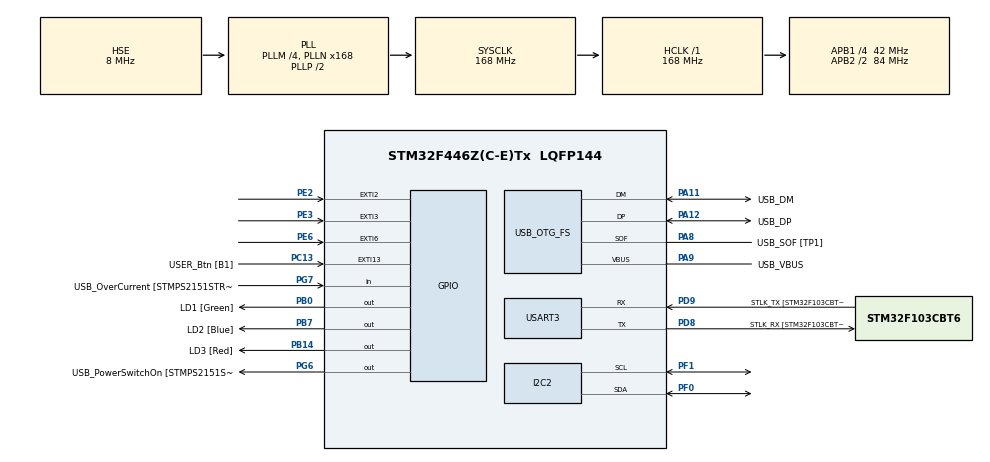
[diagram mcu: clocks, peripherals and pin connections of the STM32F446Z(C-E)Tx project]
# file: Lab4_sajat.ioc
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Mcu.Family=STM32F4
Mcu.Name=STM32F446Z(C-E)Tx
Mcu.Package=LQFP144
NVIC.PriorityGroup=NVIC_PRIORITYGROUP_4
PA10.GPIO_Label=USB_ID
PA10.Signal=USB_OTG_FS_ID
PA11.GPIO_Label=USB_DM
PA11.Mode=Device_Only
PA11.Signal=USB_OTG_FS_DM
PA12.GPIO_Label=USB_DP
PA12.Mode=Device_Only
PA12.Signal=USB_OTG_FS_DP
PA13.GPIO_Label=TMS
PA13.Mode=Serial_Wire
PA13.Signal=SYS_JTMS-SWDIO
PA14.GPIO_Label=TCK
PA14.Mode=Serial_Wire
PA14.Signal=SYS_JTCK-SWCLK
PA8.GPIO_Label=USB_SOF [TP1]
PA8.Mode=Activate_SOF_FS
PA8.Signal=USB_OTG_FS_SOF
PA9.GPIO_Label=USB_VBUS
PA9.Mode=Activate_VBUS
PA9.Signal=USB_OTG_FS_VBUS
PB0.GPIO_Label=LD1 [Green]
PB0.Signal=GPIO_Output
PB14.GPIO_Label=LD3 [Red]
PB14.Signal=GPIO_Output
PB7.GPIO_Label=LD2 [Blue]
PB7.Signal=GPIO_Output
PC13.GPIO_Label=USER_Btn [B1]
PC13.Signal=GPXTI13
PC14-OSC32_IN.Mode=LSE-External-Oscillator
PC14-OSC32_IN.Signal=RCC_OSC32_IN
PC15-OSC32_OUT.Mode=LSE-External-Oscillator
PC15-OSC32_OUT.Signal=RCC_OSC32_OUT
PD8.GPIO_Label=STLK_RX [STM32F103CBT6_PA3]
PD8.Mode=Asynchronous
PD8.Signal=USART3_TX
PD9.GPIO_Label=STLK_TX [STM32F103CBT6_PA2]
PD9.Mode=Asynchronous
PD9.Signal=USART3_RX
PE2.Signal=GPXTI2
PE3.Signal=GPXTI3
PE6.Signal=GPXTI6
PF0.Mode=I2C
PF0.Signal=I2C2_SDA
PF1.Mode=I2C
PF1.Signal=I2C2_SCL
PG6.GPIO_Label=USB_PowerSwitchOn [STMPS2151STR_EN]
PG6.Signal=GPIO_Output
PG7.GPIO_Label=USB_OverCurrent [STMPS2151STR_FAULT]
PG7.Signal=GPIO_Input
PH0-OSC_IN.GPIO_Label=MCO [STM32F103CBT6_PA8]
PH0-OSC_IN.Mode=HSE-External-Clock-Source
PH0-OSC_IN.Signal=RCC_OSC_IN
PH1-OSC_OUT.Mode=HSE-External-Clock-Source
PH1-OSC_OUT.Signal=RCC_OSC_OUT
ProjectManager.HeapSize=0x200
ProjectManager.StackSize=0x400
ProjectManager.TargetToolchain=STM32CubeIDE
RCC.48MHZClocksFreq_Value=24000000
RCC.AHBFreq_Value=168000000
RCC.APB1CLKDivider=RCC_HCLK_DIV4
RCC.APB1Freq_Value=42000000
RCC.APB1TimFreq_Value=84000000
RCC.APB2CLKDivider=RCC_HCLK_DIV2
RCC.APB2Freq_Value=84000000
RCC.APB2TimFreq_Value=168000000
RCC.CortexFreq_Value=168000000
RCC.HCLKFreq_Value=168000000
RCC.HSE_VALUE=8000000
RCC.HSI_VALUE=16000000
RCC.PLLM=4
RCC.PLLMUL=RCC_PLL_MUL9
RCC.PLLN=168
RCC.PLLQ=7
RCC.PRESCALERUSB=RCC_USBCLKSOURCE_PLL_DIV1_5
RCC.SYSCLKFreq_VALUE=168000000
RCC.SYSCLKSource=RCC_SYSCLKSOURCE_PLLCLK
RCC.SYSCLKSourceVirtual=RCC_SYSCLKSOURCE_PLLCLK
RCC.USBFreq_Value=48000000
RCC.VCOOutputFreq_Value=336000000
USART3.VirtualMode=VM_ASYNC
USB_OTG_FS.VirtualMode=Device_Only
board=NUCLEO-F446ZE

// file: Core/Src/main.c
/* USER CODE BEGIN Header */
/**
  ******************************************************************************
  * @file           : main.c

  ******************************************************************************

  *
  * @attention
  *
  * Copyright (c) 2026 STMicroelectronics.
  * All rights reserved.
  *
  * This software is licensed under terms that can be found in the LICENSE file
  * in the root directory of this software component.
  * If no LICENSE file comes with this software, it is provided AS-IS.
  *
  ******************************************************************************
  */
/* USER CODE END Header */
#include "main.h"

/* USER CODE BEGIN Includes */
#include "OLED.h"
#include <stdlib.h>
#include <stdio.h>
/* USER CODE END Includes */

/* USER CODE BEGIN PTD */

typedef enum
{
    DIR_RIGHT = 0,
    DIR_UP,
    DIR_DOWN
} Snake_Dir;

typedef enum
{
    GAME_START = 0,
    GAME_PLAY,
    GAME_OVER
} Game_State;

/* USER CODE END PTD */

/* USER CODE BEGIN PD */

#define BTN1_PORT   GPIOE
#define BTN1_PIN    GPIO_PIN_2
#define BTN2_PORT   GPIOE
#define BTN2_PIN    GPIO_PIN_3
#define BTN3_PORT   GPIOE
#define BTN3_PIN    GPIO_PIN_6

#define BTN_PRESSED_LEVEL   GPIO_PIN_RESET

#define CELL_SIZE       4u
#define GRID_W          (OLED_WIDTH  / CELL_SIZE)
#define GRID_H          (OLED_HEIGHT / CELL_SIZE)
#define SNAKE_MAX_LEN   (GRID_W * GRID_H)

#define SPEED_START_MS  160u
#define SPEED_MIN_MS    70u
#define SPEED_STEP_MS   5u

/* USER CODE END PD */

I2C_HandleTypeDef hi2c2;

UART_HandleTypeDef huart3;

PCD_HandleTypeDef hpcd_USB_OTG_FS;

/* USER CODE BEGIN PV */
static GPIO_PinState previous_button_state[3];
static GPIO_PinState current_button_state[3];

static uint8_t   snake_x[SNAKE_MAX_LEN];
static uint8_t   snake_y[SNAKE_MAX_LEN];
static uint16_t  snake_len;
static Snake_Dir snake_dir;
static Snake_Dir next_dir;

static uint8_t   food_x;
static uint8_t   food_y;

static uint16_t  score;
static uint32_t  move_period;
static uint32_t  last_move_tick;
static uint32_t  game_over_tick;

static Game_State game_state = GAME_START;

/* USER CODE END PV */

void SystemClock_Config(void);
static void MX_GPIO_Init(void);
static void MX_USART3_UART_Init(void);
static void MX_USB_OTG_FS_PCD_Init(void);
static void MX_I2C2_Init(void);

/* USER CODE BEGIN 0 */

static void Buttons_Read(uint8_t pressed[3])
{
    uint8_t i;

    current_button_state[0] = HAL_GPIO_ReadPin(BTN1_PORT, BTN1_PIN);
    current_button_state[1] = HAL_GPIO_ReadPin(BTN2_PORT, BTN2_PIN);
    current_button_state[2] = HAL_GPIO_ReadPin(BTN3_PORT, BTN3_PIN);

    for (i = 0; i < 3u; i++)
    {
        pressed[i] = ((current_button_state[i] != previous_button_state[i]) &&
                      (BTN_PRESSED_LEVEL == current_button_state[i])) ? 1u : 0u;
        previous_button_state[i] = current_button_state[i];
    }

    HAL_GPIO_WritePin(LD1_GPIO_Port, LD1_Pin,
        (BTN_PRESSED_LEVEL == current_button_state[0]) ? GPIO_PIN_SET : GPIO_PIN_RESET);
    HAL_GPIO_WritePin(LD2_GPIO_Port, LD2_Pin,
        (BTN_PRESSED_LEVEL == current_button_state[1]) ? GPIO_PIN_SET : GPIO_PIN_RESET);
    HAL_GPIO_WritePin(LD3_GPIO_Port, LD3_Pin,
        (BTN_PRESSED_LEVEL == current_button_state[2]) ? GPIO_PIN_SET : GPIO_PIN_RESET);
}

static void Snake_DrawCell(uint8_t gx, uint8_t gy)
{
    uint8_t px = gx * CELL_SIZE;
    uint8_t py = gy * CELL_SIZE;
    uint8_t i;

    for (i = 0; i < (CELL_SIZE - 1u); i++)
    {
        OLED_DrawLine(px, py + i, px + CELL_SIZE - 2u, py + i, WHITE);
    }
}

static void Snake_DrawFood(uint8_t gx, uint8_t gy)
{
    uint8_t px = gx * CELL_SIZE;
    uint8_t py = gy * CELL_SIZE;

    OLED_DrawRectangle(px, py, px + CELL_SIZE - 2u, py + CELL_SIZE - 2u, WHITE);
}

static uint8_t Snake_IsOnBody(uint8_t x, uint8_t y)
{
    uint16_t i;

    for (i = 0; i < snake_len; i++)
    {
        if ((snake_x[i] == x) && (snake_y[i] == y))
        {
            return 1u;
        }
    }
    return 0u;
}

static uint8_t Snake_SpawnFood(void)
{
    if (snake_len >= SNAKE_MAX_LEN)
    {
        return 0u;
    }

    do
    {
        food_x = (uint8_t)(rand() % GRID_W);
        food_y = (uint8_t)(rand() % GRID_H);
    } while (Snake_IsOnBody(food_x, food_y));

    return 1u;
}

static void Snake_Init(void)
{
    snake_len  = 3u;
    snake_x[0] = 5u; snake_y[0] = GRID_H / 2u;
    snake_x[1] = 4u; snake_y[1] = GRID_H / 2u;
    snake_x[2] = 3u; snake_y[2] = GRID_H / 2u;

    snake_dir = DIR_RIGHT;
    next_dir  = DIR_RIGHT;

    score          = 0u;
    move_period    = SPEED_START_MS;
    last_move_tick = HAL_GetTick();

    (void)Snake_SpawnFood();
}

static uint8_t Snake_Step(void)
{
    uint8_t  nx = snake_x[0];
    uint8_t  ny = snake_y[0];
    uint8_t  grow;
    uint16_t check_len;
    uint16_t i;

    snake_dir = next_dir;

    switch (snake_dir)
    {
    case DIR_UP:
        ny = (0u == ny) ? (GRID_H - 1u) : (ny - 1u);
        break;
    case DIR_DOWN:
        ny = (uint8_t)((ny + 1u) % GRID_H);
        break;
    case DIR_RIGHT:
    default:
        nx = (uint8_t)((nx + 1u) % GRID_W);
        break;
    }

    grow = ((nx == food_x) && (ny == food_y)) ? 1u : 0u;

    check_len = grow ? snake_len : (snake_len - 1u);
    for (i = 0; i < check_len; i++)
    {
        if ((snake_x[i] == nx) && (snake_y[i] == ny))
        {
            return 0u;
        }
    }

    if (grow && (snake_len < SNAKE_MAX_LEN))
    {
        snake_len++;
    }

    for (i = snake_len - 1u; i > 0u; i--)
    {
        snake_x[i] = snake_x[i - 1u];
        snake_y[i] = snake_y[i - 1u];
    }
    snake_x[0] = nx;
    snake_y[0] = ny;

    if (grow)
    {
        score++;
        if (move_period > SPEED_MIN_MS)
        {
            move_period -= SPEED_STEP_MS;
        }
        if (!Snake_SpawnFood())
        {
            return 0u;
        }
    }

    return 1u;
}

static void Snake_Draw(void)
{
    uint16_t i;

    OLED_Fill(BLACK);
    for (i = 0; i < snake_len; i++)
    {
        Snake_DrawCell(snake_x[i], snake_y[i]);
    }
    Snake_DrawFood(food_x, food_y);
    OLED_UpdateScreen();
}

static void Snake_DrawStart(void)
{
    OLED_Fill(BLACK);
    OLED_SetCursor(24, 8);
    OLED_WriteString("SNAKE", Font_16x26, WHITE);
    OLED_SetCursor(22, 46);
    OLED_WriteString("Nyomj gombot", Font_7x10, WHITE);
    OLED_UpdateScreen();
}

static void Snake_DrawGameOver(void)
{
    char buf[20];

    OLED_Fill(BLACK);
    OLED_SetCursor(14, 6);
    OLED_WriteString("GAME OVER", Font_11x18, WHITE);

    snprintf(buf, sizeof(buf), "Pont: %u", (unsigned int)score);
    OLED_SetCursor(30, 30);
    OLED_WriteString(buf, Font_7x10, WHITE);

    OLED_SetCursor(26, 48);
    OLED_WriteString("Gomb = ujra", Font_7x10, WHITE);
    OLED_UpdateScreen();
}

/* USER CODE END 0 */

int main(void)
{

  /* USER CODE BEGIN 1 */
  uint8_t pressed[3];
  /* USER CODE END 1 */

  /* MCU Configuration--------------------------------------------------------*/

  /* Reset of all peripherals, Initializes the Flash interface and the Systick. */
  HAL_Init();

  /* Configure the system clock */
  SystemClock_Config();

  /* Initialize all configured peripherals */
  MX_GPIO_Init();
  MX_USART3_UART_Init();
  MX_USB_OTG_FS_PCD_Init();
  MX_I2C2_Init();
  /* USER CODE BEGIN 2 */

  OLED_Init();
  OLED_Fill(BLACK);
  OLED_UpdateScreen();

  previous_button_state[0] = HAL_GPIO_ReadPin(BTN1_PORT, BTN1_PIN);
  previous_button_state[1] = HAL_GPIO_ReadPin(BTN2_PORT, BTN2_PIN);
  previous_button_state[2] = HAL_GPIO_ReadPin(BTN3_PORT, BTN3_PIN);

  Snake_DrawStart();
  game_state = GAME_START;

  /* USER CODE END 2 */

  /* Infinite loop */
  /* USER CODE BEGIN WHILE */
  while (1)
  {
      Buttons_Read(pressed);

      switch (game_state)
      {
      case GAME_START:
          if (pressed[0] || pressed[1] || pressed[2])
          {
              srand(HAL_GetTick());
              Snake_Init();
              Snake_Draw();
              game_state = GAME_PLAY;
          }
          break;

      case GAME_PLAY:

          if (pressed[0])
          {
              next_dir = DIR_RIGHT;
          }
          if (pressed[1] && (DIR_UP != snake_dir))
          {
              next_dir = DIR_DOWN;
          }
          if (pressed[2] && (DIR_DOWN != snake_dir))
          {
              next_dir = DIR_UP;
          }

          if ((HAL_GetTick() - last_move_tick) >= move_period)
          {
              last_move_tick = HAL_GetTick();

              if (Snake_Step())
              {
                  Snake_Draw();
              }
              else
              {
                  Snake_DrawGameOver();
                  game_over_tick = HAL_GetTick();
                  game_state = GAME_OVER;
              }
          }
          break;

      case GAME_OVER:
      default:

          if (((HAL_GetTick() - game_over_tick) > 700u) &&
              (pressed[0] || pressed[1] || pressed[2]))
          {
              Snake_Init();
              Snake_Draw();
              game_state = GAME_PLAY;
          }
          break;
      }

      HAL_Delay(5);

    /* USER CODE END WHILE */

  }
}

void SystemClock_Config(void)
{
  RCC_OscInitTypeDef RCC_OscInitStruct = {0};
  RCC_ClkInitTypeDef RCC_ClkInitStruct = {0};

  /** Configure the main internal regulator output voltage
  */
  __HAL_RCC_PWR_CLK_ENABLE();
  __HAL_PWR_VOLTAGESCALING_CONFIG(PWR_REGULATOR_VOLTAGE_SCALE1);

  /** Initializes the RCC Oscillators according to the specified parameters
  * in the RCC_OscInitTypeDef structure.
  */
  RCC_OscInitStruct.OscillatorType = RCC_OSCILLATORTYPE_HSE;
  RCC_OscInitStruct.HSEState = RCC_HSE_BYPASS;
  RCC_OscInitStruct.PLL.PLLState = RCC_PLL_ON;
  RCC_OscInitStruct.PLL.PLLSource = RCC_PLLSOURCE_HSE;
  RCC_OscInitStruct.PLL.PLLM = 4;
  RCC_OscInitStruct.PLL.PLLN = 168;
  RCC_OscInitStruct.PLL.PLLP = RCC_PLLP_DIV2;
  RCC_OscInitStruct.PLL.PLLQ = 7;
  RCC_OscInitStruct.PLL.PLLR = 2;
  if (HAL_RCC_OscConfig(&RCC_OscInitStruct) != HAL_OK)
  {
    Error_Handler();
  }

  /** Initializes the CPU, AHB and APB buses clocks
  */
  RCC_ClkInitStruct.ClockType = RCC_CLOCKTYPE_HCLK|RCC_CLOCKTYPE_SYSCLK
                              |RCC_CLOCKTYPE_PCLK1|RCC_CLOCKTYPE_PCLK2;
  RCC_ClkInitStruct.SYSCLKSource = RCC_SYSCLKSOURCE_PLLCLK;
  RCC_ClkInitStruct.AHBCLKDivider = RCC_SYSCLK_DIV1;
  RCC_ClkInitStruct.APB1CLKDivider = RCC_HCLK_DIV4;
  RCC_ClkInitStruct.APB2CLKDivider = RCC_HCLK_DIV2;

  if (HAL_RCC_ClockConfig(&RCC_ClkInitStruct, FLASH_LATENCY_5) != HAL_OK)
  {
    Error_Handler();
  }
}

static void MX_I2C2_Init(void)
{

  hi2c2.Instance = I2C2;
  hi2c2.Init.ClockSpeed = 100000;
  hi2c2.Init.DutyCycle = I2C_DUTYCYCLE_2;
  hi2c2.Init.OwnAddress1 = 0;
  hi2c2.Init.AddressingMode = I2C_ADDRESSINGMODE_7BIT;
  hi2c2.Init.DualAddressMode = I2C_DUALADDRESS_DISABLE;
  hi2c2.Init.OwnAddress2 = 0;
  hi2c2.Init.GeneralCallMode = I2C_GENERALCALL_DISABLE;
  hi2c2.Init.NoStretchMode = I2C_NOSTRETCH_DISABLE;
  if (HAL_I2C_Init(&hi2c2) != HAL_OK)
  {
    Error_Handler();
  }

}

static void MX_USART3_UART_Init(void)
{

  huart3.Instance = USART3;
  huart3.Init.BaudRate = 115200;
  huart3.Init.WordLength = UART_WORDLENGTH_8B;
  huart3.Init.StopBits = UART_STOPBITS_1;
  huart3.Init.Parity = UART_PARITY_NONE;
  huart3.Init.Mode = UART_MODE_TX_RX;
  huart3.Init.HwFlowCtl = UART_HWCONTROL_NONE;
  huart3.Init.OverSampling = UART_OVERSAMPLING_16;
  if (HAL_UART_Init(&huart3) != HAL_OK)
  {
    Error_Handler();
  }

}

static void MX_USB_OTG_FS_PCD_Init(void)
{

  hpcd_USB_OTG_FS.Instance = USB_OTG_FS;
  hpcd_USB_OTG_FS.Init.dev_endpoints = 6;
  hpcd_USB_OTG_FS.Init.speed = PCD_SPEED_FULL;
  hpcd_USB_OTG_FS.Init.dma_enable = DISABLE;
  hpcd_USB_OTG_FS.Init.phy_itface = PCD_PHY_EMBEDDED;
  hpcd_USB_OTG_FS.Init.Sof_enable = ENABLE;
  hpcd_USB_OTG_FS.Init.low_power_enable = DISABLE;
  hpcd_USB_OTG_FS.Init.lpm_enable = DISABLE;
  hpcd_USB_OTG_FS.Init.vbus_sensing_enable = ENABLE;
  hpcd_USB_OTG_FS.Init.use_dedicated_ep1 = DISABLE;
  if (HAL_PCD_Init(&hpcd_USB_OTG_FS) != HAL_OK)
  {
    Error_Handler();
  }

}

static void MX_GPIO_Init(void)
{
  GPIO_InitTypeDef GPIO_InitStruct = {0};

  /* GPIO Ports Clock Enable */
  __HAL_RCC_GPIOE_CLK_ENABLE();
  __HAL_RCC_GPIOC_CLK_ENABLE();
  __HAL_RCC_GPIOF_CLK_ENABLE();
  __HAL_RCC_GPIOH_CLK_ENABLE();
  __HAL_RCC_GPIOB_CLK_ENABLE();
  __HAL_RCC_GPIOD_CLK_ENABLE();
  __HAL_RCC_GPIOG_CLK_ENABLE();
  __HAL_RCC_GPIOA_CLK_ENABLE();

  /*Configure GPIO pin Output Level */
  HAL_GPIO_WritePin(GPIOB, LD1_Pin|LD3_Pin|LD2_Pin, GPIO_PIN_RESET);

  /*Configure GPIO pin Output Level */
  HAL_GPIO_WritePin(USB_PowerSwitchOn_GPIO_Port, USB_PowerSwitchOn_Pin, GPIO_PIN_RESET);

  /*Configure GPIO pins : PE2 PE3 PE6 */
  GPIO_InitStruct.Pin = GPIO_PIN_2|GPIO_PIN_3|GPIO_PIN_6;
  GPIO_InitStruct.Mode = GPIO_MODE_IT_RISING;
  GPIO_InitStruct.Pull = GPIO_NOPULL;
  HAL_GPIO_Init(GPIOE, &GPIO_InitStruct);

  /*Configure GPIO pin : USER_Btn_Pin */
  GPIO_InitStruct.Pin = USER_Btn_Pin;
  GPIO_InitStruct.Mode = GPIO_MODE_IT_RISING;
  GPIO_InitStruct.Pull = GPIO_NOPULL;
  HAL_GPIO_Init(USER_Btn_GPIO_Port, &GPIO_InitStruct);

  /*Configure GPIO pins : LD1_Pin LD3_Pin LD2_Pin */
  GPIO_InitStruct.Pin = LD1_Pin|LD3_Pin|LD2_Pin;
  GPIO_InitStruct.Mode = GPIO_MODE_OUTPUT_PP;
  GPIO_InitStruct.Pull = GPIO_NOPULL;
  GPIO_InitStruct.Speed = GPIO_SPEED_FREQ_LOW;
  HAL_GPIO_Init(GPIOB, &GPIO_InitStruct);

  /*Configure GPIO pin : USB_PowerSwitchOn_Pin */
  GPIO_InitStruct.Pin = USB_PowerSwitchOn_Pin;
  GPIO_InitStruct.Mode = GPIO_MODE_OUTPUT_PP;
  GPIO_InitStruct.Pull = GPIO_NOPULL;
  GPIO_InitStruct.Speed = GPIO_SPEED_FREQ_LOW;
  HAL_GPIO_Init(USB_PowerSwitchOn_GPIO_Port, &GPIO_InitStruct);

  /*Configure GPIO pin : USB_OverCurrent_Pin */
  GPIO_InitStruct.Pin = USB_OverCurrent_Pin;
  GPIO_InitStruct.Mode = GPIO_MODE_INPUT;
  GPIO_InitStruct.Pull = GPIO_NOPULL;
  HAL_GPIO_Init(USB_OverCurrent_GPIO_Port, &GPIO_InitStruct);

}

void Error_Handler(void)
{
  __disable_irq();
  while (1)
  {
  }
}
